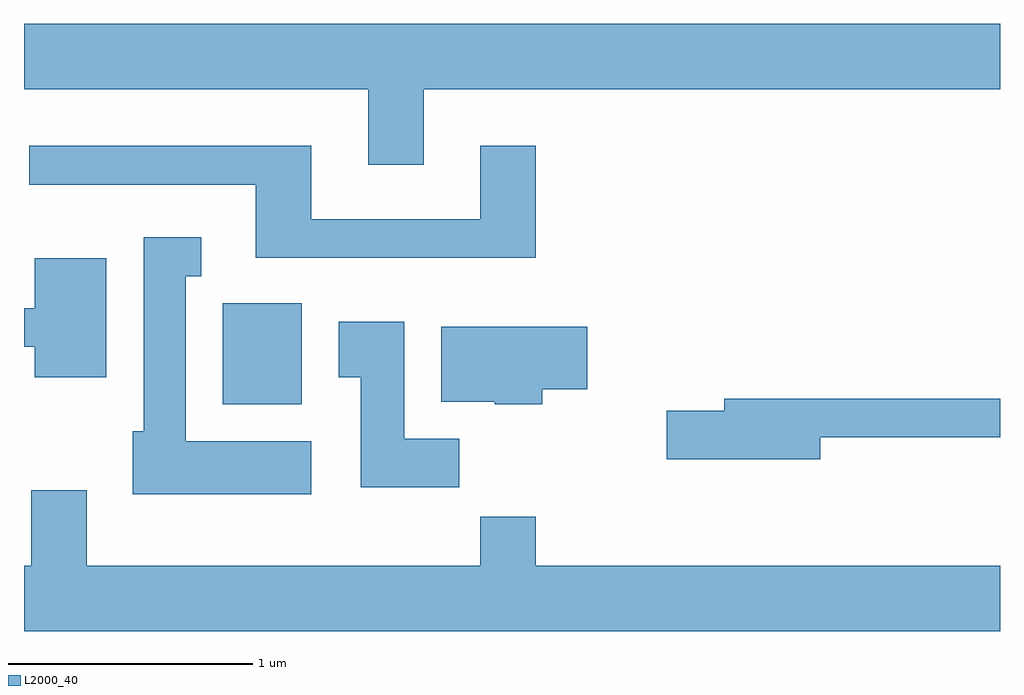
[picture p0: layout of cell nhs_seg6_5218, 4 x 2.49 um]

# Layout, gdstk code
import gdstk
lib = gdstk.Library(unit=1e-6, precision=1e-09)
def R(c, l, rs):  # rectangles x0, y0, x1, y1
    for r in rs: c.add(gdstk.rectangle(r[:2], r[2:], *l))
def P(c, l, *ps):  # polygons
    for p in ps: c.add(gdstk.Polygon(p, *l))
L2000_40 = (2000, 40)

nhs_seg6_5218 = lib.new_cell('nhs_seg6_5218')
R(nhs_seg6_5218, L2000_40, [(344.426,1637.546,344.749,1637.959)])
P(nhs_seg6_5218, L2000_40, [(345.249,1638.836),(347.611,1638.836),(347.611,1639.104),(343.611,1639.104),(343.611,1638.836),(345.021,1638.836),(345.021,1638.526),(345.249,1638.526)],
  [(345.709,1638.604),(345.481,1638.604),(345.481,1638.304),(344.789,1638.304),(344.789,1638.604),(343.633,1638.604),(343.633,1638.446),(344.561,1638.446),(344.561,1638.146),(345.709,1638.146)],
  [(344.789,1637.394),(344.274,1637.394),(344.274,1638.071),(344.338,1638.071),(344.338,1638.229),(344.101,1638.229),(344.101,1637.434),(344.056,1637.434),(344.056,1637.176),(344.789,1637.176)],
  [(343.949,1638.144),(343.656,1638.144),(343.656,1637.939),(343.611,1637.939),(343.611,1637.781),(343.656,1637.781),(343.656,1637.656),(343.949,1637.656)],
  [(345.394,1637.404),(345.169,1637.404),(345.169,1637.884),(344.901,1637.884),(344.901,1637.656),(344.991,1637.656),(344.991,1637.206),(345.394,1637.206)],
  [(345.734,1637.606),(345.919,1637.606),(345.919,1637.864),(345.321,1637.864),(345.321,1637.556),(345.54,1637.556),(345.54,1637.546),(345.734,1637.546)],
  [(346.874,1637.411),(347.611,1637.411),(347.611,1637.569),(346.481,1637.569),(346.481,1637.519),(346.246,1637.519),(346.246,1637.321),(346.874,1637.321)],
  [(347.611,1636.884),(345.709,1636.884),(345.709,1637.084),(345.481,1637.084),(345.481,1636.884),(343.869,1636.884),(343.869,1637.194),(343.641,1637.194),(343.641,1636.884),(343.611,1636.884),(343.611,1636.616),(347.611,1636.616)])

lib.write_gds('nhs_seg6_5218.gds')
